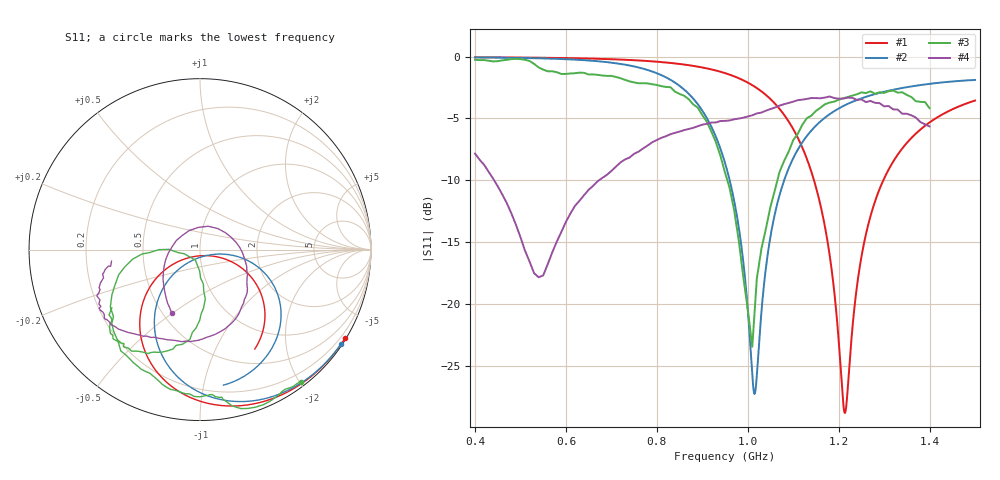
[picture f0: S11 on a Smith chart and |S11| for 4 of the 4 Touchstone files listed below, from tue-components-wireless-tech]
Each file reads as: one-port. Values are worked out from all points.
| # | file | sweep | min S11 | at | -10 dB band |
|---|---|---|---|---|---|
| 1 | Dipole_antenna_student (1 GHz)_2024.s1p | 400 MHz to 1.5 GHz | -28.8 dB | 1.214 GHz | 152.6 MHz wide |
| 2 | Dipole_antenna_student (1 GHz)_2024_lab3_114mm.s1p | 400 MHz to 1.5 GHz | -27.3 dB | 1.015 GHz | 120 MHz wide |
| 3 | lab3_dipole_port1_free.s1p | 400 MHz to 1.4 GHz | -23.5 dB | 1.01 GHz | 110.3 MHz wide |
| 4 | lab3_dipole_port1_hand.s1p | 400 MHz to 1.4 GHz | -17.9 dB | 540 MHz | 231.1 MHz wide |
